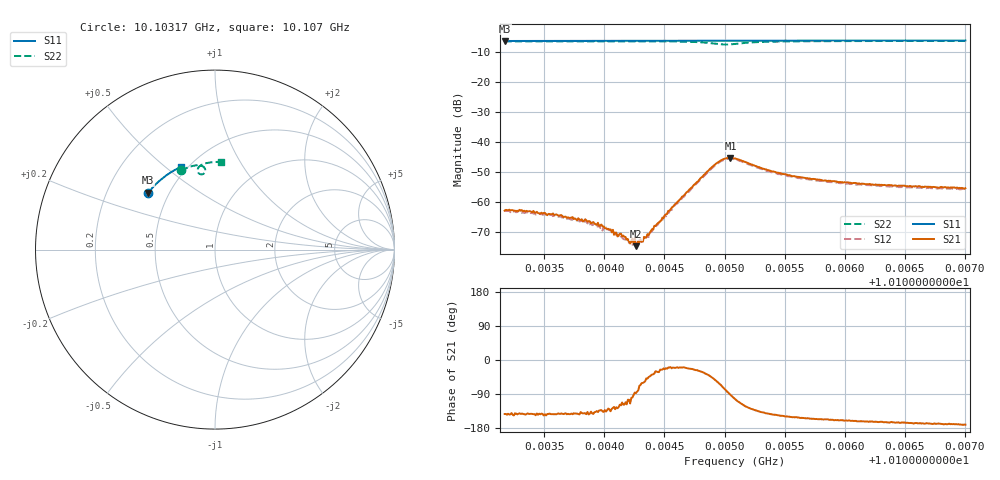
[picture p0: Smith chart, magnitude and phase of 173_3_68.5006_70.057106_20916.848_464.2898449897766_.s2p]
#  HZ  S  RI  R  50.00
! Rohde & Schwarz Vector Network Analyzer
! Rohde-Schwarz,ZNB20-2Port,1311601062101988,3.16
! Created: UTC 3/20/2024, 5:11:26 PM
! freq[Hz]  re:S11  im:S11  re:S21  im:S21  re:S12  im:S12  re:S22  im:S22
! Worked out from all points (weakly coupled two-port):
!   401 points, 10.10317 GHz to 10.107 GHz, reference 50 ohm
!   highest |S21| = -45.22 dB at 10.10505 GHz (marker M1); lowest = -74.7 dB at 10.10426 GHz (marker M2)
!   lowest |S11| = -6.2 dB at 10.10317 GHz (marker M3), VSWR 2.91, Z = 19.2 + j16 ohm
!   |S11| at or under -10 dB: nowhere
!   |S22| runs from -7.4 to -6.2 dB; largest |S21 - S12| = 0.00055
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1.0103171e10  -0.3717 0.3168  -0.000572 -0.000438  -0.000525 -0.000501  -0.1897 0.4415
1.0103315e10  -0.3662 0.3238  -0.000575 -0.00046  -0.00049 -0.000445  -0.181 0.4457
1.0103583e10  -0.3558 0.3364  -0.000484 -0.000366  -0.00044 -0.000404  -0.1644 0.4527
1.0103813e10  -0.3466 0.3468  -0.000396 -0.000335  -0.000328 -0.000322  -0.1494 0.4584
1.0103861e10  -0.3446 0.349  -0.000346 -0.000321  -0.00032 -0.000304  -0.1462 0.4595
1.0104033e10  -0.3373 0.3565  -0.000221 -0.000283  -0.000214 -0.000282  -0.1344 0.4632
1.01041e10  -0.3346 0.3595  -0.000175 -0.000255  -0.000133 -0.000248  -0.1296 0.4645
1.0104148e10  -0.3324 0.3616  -0.000101 -0.000249  -8.22e-05 -0.000243  -0.1261 0.4655
1.0104225e10  -0.3292 0.3649  -3.8e-05 -0.000215  -1.97e-05 -0.000226  -0.1205 0.4668
1.0104263e10  -0.3274 0.3663  8.8e-06 -0.000184  5.51e-05 -0.000237  -0.1173 0.4675
1.0104302e10  -0.3259 0.3682  9.91e-05 -0.000221  9.47e-05 -0.000198  -0.1142 0.4682
1.0104359e10  -0.3234 0.3704  0.000191 -0.000221  0.000211 -0.000172  -0.1096 0.469
1.0104455e10  -0.3191 0.3744  0.000389 -0.000242  0.000425 -0.000181  -0.1012 0.47
1.0104579e10  -0.3135 0.3797  0.000817 -0.000304  0.000816 -0.000249  -0.0892 0.4701
1.0104896e10  -0.2989 0.392  0.00266 -0.00276  0.00279 -0.00244  -0.0539 0.4431
1.0104982e10  -0.2948 0.3952  0.00172 -0.00482  0.00211 -0.00445  -0.0632 0.4229
1.0105049e10  -0.2917 0.3976  -0.000157 -0.00548  0.000298 -0.00527  -0.0821 0.4202
1.0105087e10  -0.2902 0.399  -0.00122 -0.00522  -0.000717 -0.00508  -0.0907 0.4258
1.0105432e10  -0.2735 0.4118  -0.00255 -0.00179  -0.00232 -0.00193  -0.0772 0.4709
1.0105729e10  -0.2587 0.4221  -0.00221 -0.00102  -0.00201 -0.00118  -0.0528 0.4806
1.0106371e10  -0.2256 0.4425  -0.00187 -0.000486  -0.00169 -0.000661  -0.00676 0.4875
1.0107004e10  -0.1914 0.4598  -0.00168 -0.000279  -0.00159 -0.000431  0.0356 0.4882
